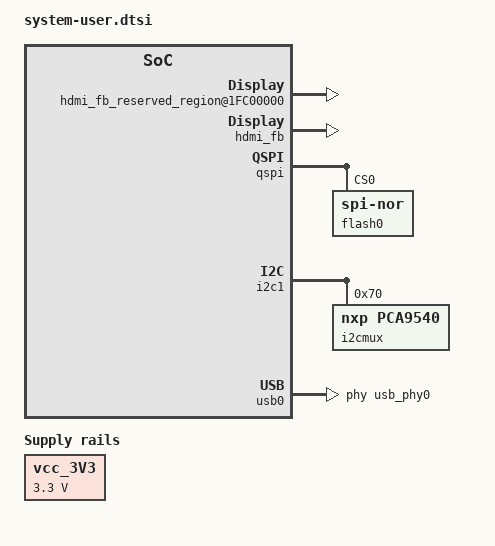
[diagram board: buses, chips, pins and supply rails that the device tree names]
/include/ "system-conf.dtsi"
/ {
};
  
  
/ {
    #address-cells = <1>;
    #size-cells = <1>;
   
    reserved-memory {
        #address-cells = <1>;
        #size-cells = <1>;
        ranges;
        // HDMI Output frame buffer
        hdmi_fb_reserved_region@1FC00000 {
            compatible = "removed-dma-pool";
            no-map;
            // 512M (M modules)
            reg = <0x1FC00000 0x400000>;
            // 128M (R modules)
            //reg = <0x7C00000 0x400000>;
        };
/*  // Use second frame buffer if you want separate area for camera image  
        camera_fb_reserved_region@1FC00000 {
            compatible = "removed-dma-pool";
            no-map;
            // 512M (M modules)
            reg = <0x1FC00000 0x400000>;
            // 128M (R modules)
            //reg = <0x7800000 0x400000>;
        };
*/ 
    };
   
    hdmi_fb: framebuffer@0x1FC00000 {           // HDMI out
        compatible = "simple-framebuffer";
        // 512M (M modules)
        reg = <0x1FC00000 (1280 * 720 * 4)>;    // 720p
        // 128M (R modules)
        //reg = <0x7C00000 (1280 * 720 * 4)>;   // 720p
        width = <1280>;                         // 720p
        height = <720>;                         // 720p
        stride = <(1280 * 4)>;                  // 720p
        format = "a8b8g8r8";
        status = "okay";
    };
/*  // In "go through" mode only one framebuffer is used
    camera_fb: framebuffer@0x1FC00000 {         // CAMERA in
        compatible = "simple-framebuffer";
        // 512M (M modules)
        reg = <0x1FC00000 (1280 * 720 * 4)>;    // 720p
        // 128M (R modules)
        //reg = <0x7800000 (1280 * 720 * 4)>;   // 720p
        width = <1280>;                         // 720p
        height = <720>;                         // 720p
        stride = <(1280 * 4)>;                  // 720p
        format = "a8b8g8r8";
    };
*/ 
    vcc_3V3: fixedregulator@0 {
        compatible = "regulator-fixed";
        regulator-name = "vccaux-supply";
        regulator-min-microvolt = <3300000>;
        regulator-max-microvolt = <3300000>;
        regulator-always-on;
    };
};

  
&qspi {
    #address-cells = <1>;
    #size-cells = <0>;
    status = "okay";
    flash0: flash@0 {
        compatible = "jedec,spi-nor";
        reg = <0x0>;
        #address-cells = <1>;
        #size-cells = <1>;
    };
};
  
/*
* We need to disable Linux VDMA driver as VDMA
* already configured in FSBL
*/


&video_out_axi_vdma_0 {
	// Solution 1: Disable standard VDMA driver (VDMA configuration should be done in the FSBL)
	status = "disabled";	
	// Solution 2: Configure VDMA using the custom driver (VDMA configuration in FSBL should be disabled)
    //compatible = "trenz,vdmafb";
    //width = <1280>;
    //height = <720>;
    //stride = <(1280 * 4)>;
    //format = "a8b8g8r8";
};

&video_in_axi_vdma_0 {
	// Solution 1: Disable satandard VDMA driver (VDMA configuration should be done in the FSBL)
	status = "disabled";
};

&gpio0 {
    interrupt-controller;
    #interrupt-cells = <2>;
};
  

/* I2C1 - for REV02 */ 
&i2c1 {
	#address-cells = <1>;
	#size-cells = <0>;

	i2cmux: i2cmux@70  {
		compatible = "nxp,pca9540";
		#address-cells = <1>;
		#size-cells = <0>;
		reg = <0x70>;

		ID_I2C@0 {
			#address-cells = <1>;
			#size-cells = <0>;
			reg = <0>;
		};
		CSI_I2C@1 {
			#address-cells = <1>;
			#size-cells = <0>;
			reg = <1>;
		};
	};
};



/* USB */  
/{
    usb_phy0: usb_phy@0 {
        compatible = "ulpi-phy";
        #phy-cells = <0>;
        reg = <0xe0002000 0x1000>;
        view-port = <0x0170>;
        drv-vbus;
    };
};
  
&usb0 {
    usb-phy = <&usb_phy0>;
} ;
